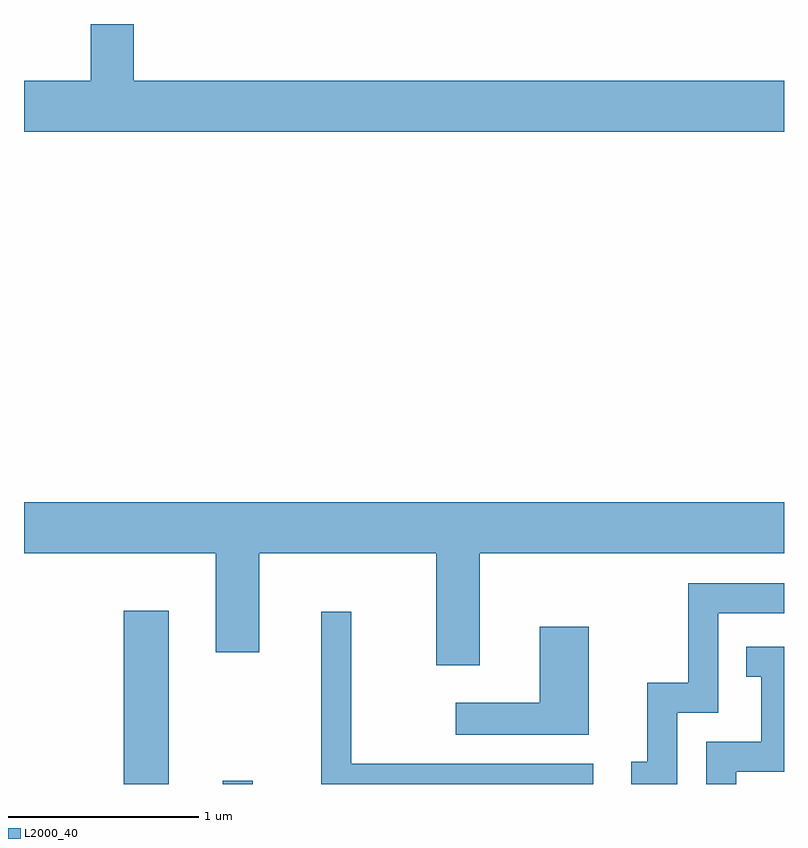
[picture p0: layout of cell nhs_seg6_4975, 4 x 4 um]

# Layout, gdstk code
import gdstk
lib = gdstk.Library(unit=1e-6, precision=1e-09)
def R(c, l, rs):  # rectangles x0, y0, x1, y1
    for r in rs: c.add(gdstk.rectangle(r[:2], r[2:], *l))
def P(c, l, *ps):  # polygons
    for p in ps: c.add(gdstk.Polygon(p, *l))
L2000_40 = (2000, 40)

nhs_seg6_4975 = lib.new_cell('nhs_seg6_4975')
R(nhs_seg6_4975, L2000_40, [(338.136,1542.162,338.374,1543.074), (338.656,1542.162,338.814,1542.178)])
P(nhs_seg6_4975, L2000_40, [(341.611,1545.864),(338.189,1545.864),(338.189,1546.162),(337.961,1546.162),(337.961,1545.864),(337.611,1545.864),(337.611,1545.596),(341.611,1545.596)],
  [(340.009,1543.376),(341.611,1543.376),(341.611,1543.644),(337.611,1543.644),(337.611,1543.376),(338.621,1543.376),(338.621,1542.856),(338.849,1542.856),(338.849,1543.376),(339.781,1543.376),(339.781,1542.786),(340.009,1542.786)],
  [(341.049,1542.536),(341.264,1542.536),(341.264,1543.061),(341.611,1543.061),(341.611,1543.219),(341.106,1543.219),(341.106,1542.694),(340.891,1542.694),(340.891,1542.279),(340.808,1542.279),(340.808,1542.162),(341.049,1542.162)],
  [(340.608,1542.269),(339.334,1542.269),(339.334,1543.068),(339.176,1543.068),(339.176,1542.162),(340.608,1542.162)],
  [(340.584,1542.989),(340.326,1542.989),(340.326,1542.589),(339.883,1542.589),(339.883,1542.421),(340.584,1542.421)],
  [(341.359,1542.226),(341.611,1542.226),(341.611,1542.884),(341.413,1542.884),(341.413,1542.726),(341.491,1542.726),(341.491,1542.384),(341.201,1542.384),(341.201,1542.162),(341.359,1542.162)])

lib.write_gds('nhs_seg6_4975.gds')
